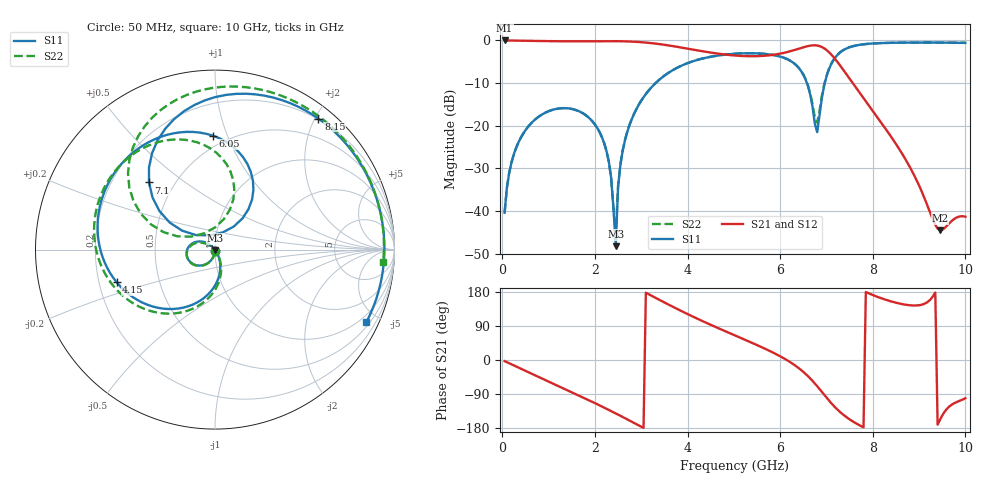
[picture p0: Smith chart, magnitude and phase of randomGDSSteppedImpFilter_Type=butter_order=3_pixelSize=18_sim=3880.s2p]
! freq	dB(S11)	phase(S11)	dB(S12)	phase(S12)
!  dB(S21)	phase(S21)	dB(S22)	phase(S22)
!S-par simulation data
#  GHz  S  DB  R 50
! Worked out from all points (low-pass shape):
!   200 points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, 50 MHz to 10 GHz, reference 50 ohm
!   highest |S21| = -0.01 dB at 50 MHz (marker M1); lowest = -44.5 dB at 9.45 GHz (marker M2)
!   |S21| within 3 dB of the highest: start of sweep to 4.596 GHz; 6.041 GHz to 7.077 GHz (1.036 GHz wide, 15.8 % of centre)
!   lowest |S11| = -48.2 dB at 2.45 GHz (marker M3), VSWR 1.01, Z = 50.2 - j0.345 ohm
!   |S11| at or under -10 dB: start of sweep to 3.31 GHz; 6.577 GHz to 6.964 GHz (387.2 MHz wide, 5.72 % of centre)
!   |S22| runs from -45.3 to -0.5 dB; largest |S21 - S12| = 0
!   S11 on the Smith chart (normalised r, x): 50 MHz: 1.00, -0.02; 4.15 GHz: 0.27, -0.15; 6.05 GHz: 0.42, +0.89; 7.1 GHz: 0.36, +0.37; 8.15 GHz: 0.19, +2.05; 10 GHz: 0.67, -4.31
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0.05  -40.39 -92.1  -0.01 -2.9  -0.01 -2.9  -40.38 -92.0
0.2  -28.54 -101.5  -0.03 -11.5  -0.03 -11.5  -28.54 -101.2
0.55  -20.33 -122.3  -0.08 -31.4  -0.08 -31.4  -20.33 -121.5
1.75  -17.13 168.8  -0.20 -99.2  -0.20 -99.2  -17.14 172.0
2.25  -25.90 139.3  -0.17 -128.7  -0.17 -128.7  -25.93 145.5
2.35  -32.14 133.7  -0.17 -134.8  -0.17 -134.8  -32.16 143.6
2.45  -48.22 -62.4  -0.17 -141.0  -0.17 -141.0  -45.31 -91.4
2.5  -34.41 -58.6  -0.18 -144.1  -0.18 -144.1  -34.13 -63.4
2.65  -23.35 -67.0  -0.22 -153.5  -0.22 -153.5  -23.30 -65.6
3.4  -9.12 -115.4  -0.87 158.2  -0.87 158.2  -9.11 -110.4
4.15  -4.77 -161.7  -2.21 112.5  -2.21 112.5  -4.76 -154.4
5.05  -3.10 148.4  -3.56 63.5  -3.56 63.5  -3.09 158.7
6.05  -3.95 91.0  -2.99 6.4  -2.99 6.4  -3.94 105.6
6.5  -8.04 57.3  -1.61 -31.2  -1.61 -31.2  -7.96 75.3
6.7  -15.61 50.8  -1.16 -55.2  -1.16 -55.2  -14.99 73.5
6.8  -21.50 109.6  -1.20 -69.2  -1.20 -69.2  -19.27 123.4
7.1  -5.60 134.5  -3.26 -113.5  -3.26 -113.5  -5.54 149.2
7.55  -1.41 89.9  -9.75 -160.7  -9.75 -160.7  -1.41 107.6
8.15  -0.63 51.7  -18.77 164.4  -18.77 164.4  -0.63 71.5
8.35  -0.56 41.5  -21.84 156.3  -21.84 156.3  -0.57 61.7
9.45  -0.51 -5.3  -44.50 -158.1  -44.50 -158.1  -0.49 16.2
10  -0.58 -25.6  -41.32 -100.9  -41.32 -100.9  -0.54 -4.1
